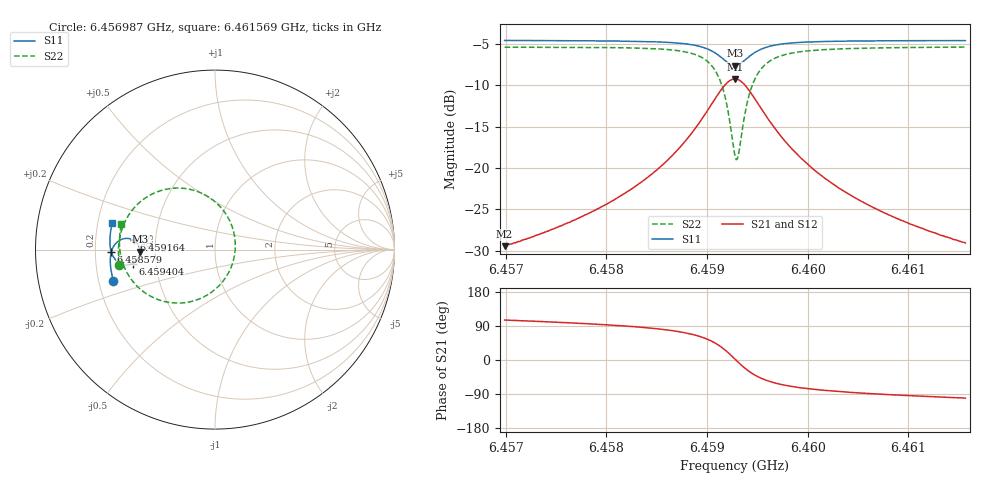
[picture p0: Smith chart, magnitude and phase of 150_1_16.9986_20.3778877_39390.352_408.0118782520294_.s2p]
#  HZ  S  RI  R  50.00
! Rohde & Schwarz Vector Network Analyzer
! Rohde-Schwarz,ZNB20-2Port,1311601062101988,3.16
! Created: UTC 3/20/2024, 10:58:48 PM
! freq[Hz]  re:S11  im:S11  re:S21  im:S21  re:S12  im:S12  re:S22  im:S22
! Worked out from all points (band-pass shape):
!   401 points, 6.456987 GHz to 6.461569 GHz, reference 50 ohm
!   highest |S21| = -9.20 dB at 6.459278 GHz (marker M1); lowest = -29.4 dB at 6.456987 GHz (marker M2)
!   |S21| within 3 dB of the highest: 6.459048 GHz to 6.459507 GHz (458.7 kHz wide, 0.0071 % of centre)
!   lowest |S11| = -7.6 dB at 6.459278 GHz (marker M3), VSWR 2.43, Z = 20.6 - j0.58 ohm
!   |S11| at or under -10 dB: nowhere
!   |S22| runs from -19.0 to -5.3 dB; largest |S21 - S12| = 0.014
!   S11 on the Smith chart (normalised r, x): 6.456987 GHz: 0.26, -0.14; 6.458579 GHz: 0.27, -0.01; 6.459164 GHz: 0.37, +0.05; 6.459404 GHz: 0.37, -0.07; 6.461569 GHz: 0.26, +0.12
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6.4569871e9  -0.5664 -0.1727  -0.00895 0.0325  -0.00719 0.0325  -0.5321 -0.085
6.4577547e9  -0.5805 -0.1056  -0.00577 0.0506  -0.00315 0.05  -0.5377 0.00505
6.4581785e9  -0.5833 -0.0631  9.83e-05 0.0702  0.00341 0.0688  -0.5296 0.0724
6.4585222e9  -0.5795 -0.0218  0.0141 0.0991  0.0181 0.0963  -0.5041 0.1503
6.4585795e9  -0.5777 -0.0139  0.0185 0.1061  0.0226 0.103  -0.4958 0.1668
6.4587857e9  -0.5646 0.0183  0.0461 0.1388  0.0501 0.1338  -0.4442 0.2396
6.4589346e9  -0.5418 0.0447  0.0916 0.1694  0.0948 0.1628  -0.3605 0.3042
6.459072e9  -0.4978 0.0623  0.1794 0.1859  0.1803 0.1787  -0.2005 0.3428
6.4591637e9  -0.4529 0.0518  0.2696 0.1543  0.2698 0.1485  -0.0336 0.2918
6.4592324e9  -0.4238 0.0194  0.3302 0.082  0.3324 0.0769  0.0815 0.1617
6.4592782e9  -0.4169 -0.0117  0.3463 0.0139  0.35 0.00703  0.1131 0.0343
6.4592897e9  -0.4175 -0.0199  0.346 -0.00401  0.35 -0.0116  0.1126 0.000685
6.4593126e9  -0.421 -0.0356  0.3403 -0.0386  0.3442 -0.0477  0.1013 -0.0651
6.4593584e9  -0.4366 -0.0616  0.3116 -0.0985  0.3137 -0.1103  0.0433 -0.1778
6.4594043e9  -0.4589 -0.078  0.2693 -0.1395  0.2686 -0.1527  -0.0419 -0.2523
6.4594959e9  -0.5023 -0.0849  0.1847 -0.1706  0.1785 -0.1821  -0.2107 -0.298
6.4596448e9  -0.5462 -0.0645  0.0967 -0.1568  0.0882 -0.1629  -0.3779 -0.2487
6.4598052e9  -0.568 -0.0369  0.0519 -0.129  0.0442 -0.1316  -0.4582 -0.1767
6.4600458e9  -0.5808 -0.00139  0.0227 -0.0973  0.0167 -0.0979  -0.5063 -0.0944
6.4603665e9  -0.5855 0.037  0.00707 -0.0719  0.00301 -0.0715  -0.5273 -0.0199
6.4608133e9  -0.5838 0.0822  -0.00135 -0.052  -0.00411 -0.0512  -0.5323 0.0525
6.4615693e9  -0.5719 0.1492  -0.00645 -0.0347  -0.0081 -0.0337  -0.5213 0.142
